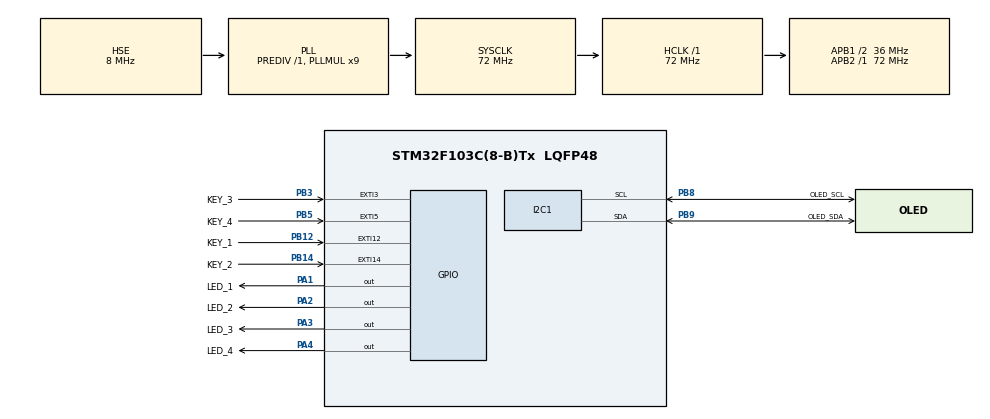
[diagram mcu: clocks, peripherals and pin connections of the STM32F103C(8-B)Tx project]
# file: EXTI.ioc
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Mcu.Family=STM32F1
Mcu.Name=STM32F103C(8-B)Tx
Mcu.Package=LQFP48
NVIC.EXTI15_10_IRQn=true\:1\:0\:true\:false\:true\:true\:true\:true
NVIC.EXTI3_IRQn=true\:0\:0\:true\:false\:true\:true\:true\:true
NVIC.EXTI9_5_IRQn=true\:1\:0\:true\:false\:true\:true\:true\:true
NVIC.PriorityGroup=NVIC_PRIORITYGROUP_4
PA0-WKUP.Mode=SYS_WakeUp0
PA0-WKUP.Signal=SYS_WKUP
PA1.GPIO_Label=LED_1
PA1.GPIO_Speed=GPIO_SPEED_FREQ_HIGH
PA1.PinState=GPIO_PIN_SET
PA1.Signal=GPIO_Output
PA13.Mode=Serial_Wire
PA13.Signal=SYS_JTMS-SWDIO
PA14.Mode=Serial_Wire
PA14.Signal=SYS_JTCK-SWCLK
PA2.GPIO_Label=LED_2
PA2.GPIO_Speed=GPIO_SPEED_FREQ_HIGH
PA2.PinState=GPIO_PIN_SET
PA2.Signal=GPIO_Output
PA3.GPIO_Label=LED_3
PA3.GPIO_Speed=GPIO_SPEED_FREQ_HIGH
PA3.PinState=GPIO_PIN_SET
PA3.Signal=GPIO_Output
PA4.GPIO_Label=LED_4
PA4.GPIO_Speed=GPIO_SPEED_FREQ_HIGH
PA4.PinState=GPIO_PIN_SET
PA4.Signal=GPIO_Output
PB12.GPIO_Label=KEY_1
PB12.GPIO_ModeDefaultEXTI=GPIO_MODE_IT_FALLING
PB12.GPIO_PuPd=GPIO_PULLUP
PB12.Signal=GPXTI12
PB14.GPIO_Label=KEY_2
PB14.GPIO_ModeDefaultEXTI=GPIO_MODE_IT_FALLING
PB14.GPIO_PuPd=GPIO_PULLUP
PB14.Signal=GPXTI14
PB3.GPIO_Label=KEY_3
PB3.GPIO_ModeDefaultEXTI=GPIO_MODE_IT_FALLING
PB3.GPIO_PuPd=GPIO_PULLUP
PB3.Signal=GPXTI3
PB5.GPIO_Label=KEY_4
PB5.GPIO_ModeDefaultEXTI=GPIO_MODE_IT_FALLING
PB5.GPIO_PuPd=GPIO_PULLUP
PB5.Signal=GPXTI5
PB8.GPIO_Label=OLED_SCL
PB8.Mode=I2C
PB8.Signal=I2C1_SCL
PB9.GPIO_Label=OLED_SDA
PB9.Mode=I2C
PB9.Signal=I2C1_SDA
PD0-OSC_IN.Mode=HSE-External-Oscillator
PD0-OSC_IN.Signal=RCC_OSC_IN
PD1-OSC_OUT.Mode=HSE-External-Oscillator
PD1-OSC_OUT.Signal=RCC_OSC_OUT
ProjectManager.HeapSize=0x200
ProjectManager.StackSize=0x400
ProjectManager.TargetToolchain=MDK-ARM V5
RCC.AHBFreq_Value=72000000
RCC.APB1CLKDivider=RCC_HCLK_DIV2
RCC.APB1Freq_Value=36000000
RCC.APB1TimFreq_Value=72000000
RCC.APB2Freq_Value=72000000
RCC.APB2TimFreq_Value=72000000
RCC.HCLKFreq_Value=72000000
RCC.PLLMUL=RCC_PLL_MUL9
RCC.PLLSourceVirtual=RCC_PLLSOURCE_HSE
RCC.SYSCLKFreq_VALUE=72000000
RCC.SYSCLKSource=RCC_SYSCLKSOURCE_PLLCLK
RCC.USBFreq_Value=72000000
board=custom

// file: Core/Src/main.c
/* USER CODE BEGIN Header */
/**
  ******************************************************************************
  * @file           : main.c
  * @brief          : Main program body
  ******************************************************************************
  * @attention
  *
  * Copyright (c) 2026 STMicroelectronics.
  * All rights reserved.
  *
  * This software is licensed under terms that can be found in the LICENSE file
  * in the root directory of this software component.
  * If no LICENSE file comes with this software, it is provided AS-IS.
  *
  ******************************************************************************
  */
/* USER CODE END Header */
#include "main.h"
#include "i2c.h"
#include "gpio.h"

/* USER CODE BEGIN Includes */
#include <stdbool.h>
#include "../.././../EXTI/Drivers/OLED/OLED.h"
/* USER CODE END Includes */

/* USER CODE BEGIN PV */
volatile uint8_t key_flag[4] = {0};

typedef enum {
    KEY_EVENT_NONE = 0,
    KEY_EVENT_ALL_TOGGLE,   // PB3
    KEY_EVENT_1_4_TOGGLE,   // PB5
    KEY_EVENT_2_3_TOGGLE    // PB12&PB14
} KeyEvent_t;

volatile KeyEvent_t key_press_event = KEY_EVENT_NONE;
/* USER CODE END PV */

void SystemClock_Config(void);

/* USER CODE BEGIN 0 */
void HAL_GPIO_EXTI_Callback(uint16_t GPIO_Pin)
{
    switch(GPIO_Pin)
    {
        case KEY_3_Pin:  // PB3
            key_press_event = KEY_EVENT_ALL_TOGGLE;
            break;

        case KEY_4_Pin:  // PB5
            key_press_event = KEY_EVENT_1_4_TOGGLE;
            break;

        case KEY_1_Pin:  // PB12
        case KEY_2_Pin:  // PB14
            key_press_event = KEY_EVENT_2_3_TOGGLE;
            break;

        default:
            break;
    }
}

/*
 * 按键处理与LED控制函数：在主循环中调用。
 * 包含安全延时，不会卡死。
 */
void ProcessKeyAndControlLED(void)
{
    switch(key_press_event)
    {
        case KEY_EVENT_ALL_TOGGLE:
            // 软件去抖延时，在主循环中执行是安全的
            HAL_Delay(100);
            // 再次确认引脚电平，确保是有效按下
            if(HAL_GPIO_ReadPin(GPIOB, KEY_3_Pin) == GPIO_PIN_RESET)
            {
                HAL_GPIO_TogglePin(GPIOA, LED_1_Pin | LED_2_Pin | LED_3_Pin | LED_4_Pin);
            }
            break;

        case KEY_EVENT_1_4_TOGGLE:
            HAL_Delay(100);
            if(HAL_GPIO_ReadPin(GPIOB, KEY_4_Pin) == GPIO_PIN_RESET)
            {
                HAL_GPIO_TogglePin(GPIOA, LED_1_Pin | LED_4_Pin);
            }
            break;

        case KEY_EVENT_2_3_TOGGLE:
            HAL_Delay(100);
            // PB12和PB14功能相同，检查其中任何一个即可，或都检查
            if(HAL_GPIO_ReadPin(GPIOB, KEY_1_Pin) == GPIO_PIN_RESET ||
               HAL_GPIO_ReadPin(GPIOB, KEY_2_Pin) == GPIO_PIN_RESET)
            {
                HAL_GPIO_TogglePin(GPIOA, LED_2_Pin | LED_3_Pin);
            }
            break;

        case KEY_EVENT_NONE:
        default:
            // 没有事件，不做任何事
            break;
    }

    // 处理完事件后，清除标志，等待下一次触发
    key_press_event = KEY_EVENT_NONE;
}
/* USER CODE END 0 */

int main(void)
{

  /* MCU Configuration--------------------------------------------------------*/

  /* Reset of all peripherals, Initializes the Flash interface and the Systick. */
  HAL_Init();

  /* Configure the system clock */
  SystemClock_Config();

  /* Initialize all configured peripherals */
  MX_GPIO_Init();
  MX_I2C1_Init();
  /* USER CODE BEGIN 2 */
OLED_Init();
	  OLED_Clear();

      OLED_Clear();

	  OLED_ShowCHinese(0,0,20,0);
	  OLED_ShowCHinese(16,0,21,0);
	  OLED_ShowCHinese(32,0,22,0);
	  OLED_ShowCHinese(48,0,9,0);
	  OLED_ShowCHinese(64,0,10,0);

	  /*第二行*/
	  OLED_ShowCHinese(0,3,11,0);
	  OLED_ShowCHinese(16,3,12,0);
	  OLED_ShowString(32,3,"A236144",12,0);
	  OLED_ShowCHinese(80,3,23,0);
	  OLED_ShowCHinese(96,3,24,0);
	  OLED_ShowCHinese(112,3,25,0);

	  /*第三行*/
	  OLED_ShowString(0,6,"2026.5.15",16,0);

	  HAL_Delay(5000);

	  OLED_Clear();

  /* USER CODE END 2 */

  /* Infinite loop */
  while (1)
  {
ProcessKeyAndControlLED();
  }
}

void SystemClock_Config(void)
{
  RCC_OscInitTypeDef RCC_OscInitStruct = {0};
  RCC_ClkInitTypeDef RCC_ClkInitStruct = {0};

  /** Initializes the RCC Oscillators according to the specified parameters
  * in the RCC_OscInitTypeDef structure.
  */
  RCC_OscInitStruct.OscillatorType = RCC_OSCILLATORTYPE_HSE;
  RCC_OscInitStruct.HSEState = RCC_HSE_ON;
  RCC_OscInitStruct.HSEPredivValue = RCC_HSE_PREDIV_DIV1;
  RCC_OscInitStruct.HSIState = RCC_HSI_ON;
  RCC_OscInitStruct.PLL.PLLState = RCC_PLL_ON;
  RCC_OscInitStruct.PLL.PLLSource = RCC_PLLSOURCE_HSE;
  RCC_OscInitStruct.PLL.PLLMUL = RCC_PLL_MUL9;
  if (HAL_RCC_OscConfig(&RCC_OscInitStruct) != HAL_OK)
  {
    Error_Handler();
  }

  /** Initializes the CPU, AHB and APB buses clocks
  */
  RCC_ClkInitStruct.ClockType = RCC_CLOCKTYPE_HCLK|RCC_CLOCKTYPE_SYSCLK
                              |RCC_CLOCKTYPE_PCLK1|RCC_CLOCKTYPE_PCLK2;
  RCC_ClkInitStruct.SYSCLKSource = RCC_SYSCLKSOURCE_PLLCLK;
  RCC_ClkInitStruct.AHBCLKDivider = RCC_SYSCLK_DIV1;
  RCC_ClkInitStruct.APB1CLKDivider = RCC_HCLK_DIV2;
  RCC_ClkInitStruct.APB2CLKDivider = RCC_HCLK_DIV1;

  if (HAL_RCC_ClockConfig(&RCC_ClkInitStruct, FLASH_LATENCY_2) != HAL_OK)
  {
    Error_Handler();
  }
}

void Error_Handler(void)
{
  __disable_irq();
  while (1)
  {
  }
}
